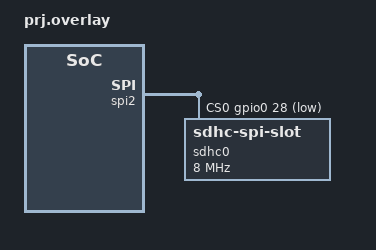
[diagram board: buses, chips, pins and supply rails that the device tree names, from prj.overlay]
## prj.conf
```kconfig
CONFIG_DISK_ACCESS=y
CONFIG_LOG=y
CONFIG_FILE_SYSTEM=y
CONFIG_FAT_FILESYSTEM_ELM=y
CONFIG_PRINTK=y
CONFIG_MAIN_STACK_SIZE=2048

# SD
CONFIG_MMC_STACK=y
CONFIG_SD_LOG_LEVEL_DEFAULT=y

CONFIG_SPI_NRFX_RAM_BUFFER_SIZE=8
CONFIG_SDHC=y
CONFIG_SDHC_LOG_LEVEL_DEFAULT=y
CONFIG_NRFX_SPI2=y
```

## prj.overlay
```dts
/* Overlay for SPI and SD card configuration with custom pin mappings */
&spi2 {
    status = "okay";
    compatible = "nordic,nrf-spi";
    
    pinctrl-0 = <&spi2_default>;
    pinctrl-1 = <&spi2_sleep>;
    pinctrl-names = "default", "sleep";

    cs-gpios = <&gpio0 28 GPIO_ACTIVE_LOW>; /* P0.28 as Chip Select (CS) */

    sdhc0: sdhc@0 {
        compatible = "zephyr,sdhc-spi-slot";
        reg = <0>;
        status = "okay";
        mmc {
            compatible = "zephyr,sdmmc-disk";
            status = "okay";
        };
        spi-max-frequency = <8000000>;
    };
};

&spi2_default {
    group1 {
        psels = <NRF_PSEL(SPIM_SCK, 0, 30)>,  /* P0.30 -> CLK (SCK) */
                <NRF_PSEL(SPIM_MOSI, 0, 29)>, /* P0.29 -> MOSI */
                <NRF_PSEL(SPIM_MISO, 0, 31)>; /* P0.31 -> MISO */
    };
};

&spi2_sleep {
    group1 { 
        psels = <NRF_PSEL(SPIM_SCK, 0xFFFFFFFF, 0xFFFFFFFF)>,  /* Disconnected */
                <NRF_PSEL(SPIM_MOSI,0xFFFFFFFF, 0xFFFFFFFF)>, /* Disconnected */
                <NRF_PSEL(SPIM_MISO,0xFFFFFFFF, 0xFFFFFFFF)>; /* Disconnected */
    };
};
```

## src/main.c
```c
/*
 * Copyright (c) 2019 Tavish Naruka <tavishnaruka@gmail.com>
 * Copyright (c) 2023 Nordic Semiconductor ASA
 * Copyright (c) 2023 Antmicro <www.antmicro.com>
 *
 * SPDX-License-Identifier: Apache-2.0
 */

/* Sample which uses the filesystem API and SDHC driver */

#include <zephyr/kernel.h>
#include <zephyr/device.h>
#include <zephyr/storage/disk_access.h>
#include <zephyr/logging/log.h>
#include <zephyr/fs/fs.h>

#if defined(CONFIG_FAT_FILESYSTEM_ELM)

#include <ff.h>

/*
 *  Note the fatfs library is able to mount only strings inside _VOLUME_STRS
 *  in ffconf.h
 */
#define DISK_DRIVE_NAME "SD"
#define DISK_MOUNT_PT "/"DISK_DRIVE_NAME":"

static FATFS fat_fs;
/* mounting info */
static struct fs_mount_t mp = {
	.type = FS_FATFS,
	.fs_data = &fat_fs,
};

#elif defined(CONFIG_FILE_SYSTEM_EXT2)

#include <zephyr/fs/ext2.h>

#define DISK_DRIVE_NAME "SDMMC"
#define DISK_MOUNT_PT "/ext"

static struct fs_mount_t mp = {
	.type = FS_EXT2,
	.flags = FS_MOUNT_FLAG_NO_FORMAT,
	.storage_dev = (void *)DISK_DRIVE_NAME,
	.mnt_point = "/ext",
};

#endif

LOG_MODULE_REGISTER(main);

#define MAX_PATH 128
#define SOME_FILE_NAME "some.dat"
#define SOME_DIR_NAME "some"
#define SOME_REQUIRED_LEN MAX(sizeof(SOME_FILE_NAME), sizeof(SOME_DIR_NAME))

static int lsdir(const char *path);
#ifdef CONFIG_FS_SAMPLE_CREATE_SOME_ENTRIES
static bool create_some_entries(const char *base_path)
{
	char path[MAX_PATH];
	struct fs_file_t file;
	int base = strlen(base_path);

	fs_file_t_init(&file);

	if (base >= (sizeof(path) - SOME_REQUIRED_LEN)) {
		LOG_ERR("Not enough concatenation buffer to create file paths");
		return false;
	}

	LOG_INF("Creating some dir entries in %s", base_path);
	strncpy(path, base_path, sizeof(path));

	path[base++] = '/';
	path[base] = 0;
	strcat(&path[base], SOME_FILE_NAME);

	if (fs_open(&file, path, FS_O_CREATE) != 0) {
		LOG_ERR("Failed to create file %s", path);
		return false;
	}
	fs_close(&file);

	path[base] = 0;
	strcat(&path[base], SOME_DIR_NAME);

	if (fs_mkdir(path) != 0) {
		LOG_ERR("Failed to create dir %s", path);
		/* If code gets here, it has at least successes to create the
		 * file so allow function to return true.
		 */
	}
	return true;
}
#endif

static const char *disk_mount_pt = DISK_MOUNT_PT;

int main(void)
{
	/* raw disk i/o */
	do {
		static const char *disk_pdrv = DISK_DRIVE_NAME;
		uint64_t memory_size_mb;
		uint32_t block_count;
		uint32_t block_size;

		if (disk_access_init(disk_pdrv) != 0) {
			LOG_ERR("Storage init ERROR!");
			break;
		}

		if (disk_access_ioctl(disk_pdrv,
				DISK_IOCTL_GET_SECTOR_COUNT, &block_count)) {
			LOG_ERR("Unable to get sector count");
			break;
		}
		LOG_INF("Block count %u", block_count);

		if (disk_access_ioctl(disk_pdrv,
				DISK_IOCTL_GET_SECTOR_SIZE, &block_size)) {
			LOG_ERR("Unable to get sector size");
			break;
		}
		printk("Sector size %u\n", block_size);

		memory_size_mb = (uint64_t)block_count * block_size;
		printk("Memory Size(MB) %u\n", (uint32_t)(memory_size_mb >> 20));
	} while (0);

	mp.mnt_point = disk_mount_pt;

	int res = fs_mount(&mp);

#if defined(CONFIG_FAT_FILESYSTEM_ELM)
	if (res == FR_OK) {
#else
	if (res == 0) {
#endif
		printk("Disk mounted.\n");
		if (lsdir(disk_mount_pt) < 5) {
#ifdef CONFIG_FS_SAMPLE_CREATE_SOME_ENTRIES
			if (create_some_entries(disk_mount_pt)) {
				lsdir(disk_mount_pt);
			}
#endif
		}
	} else {
		printk("Error mounting disk.\n");
	}

	fs_unmount(&mp);

	while (1) {
		k_sleep(K_MSEC(1000));
	}
	return 0;
}

/* List dir entry by path
 *
 * @param path Absolute path to list
 *
 * @return Negative errno code on error, number of listed entries on
 *         success.
 */
static int lsdir(const char *path)
{
	int res;
	struct fs_dir_t dirp;
	static struct fs_dirent entry;
	int count = 0;

	fs_dir_t_init(&dirp);

	/* Verify fs_opendir() */
	res = fs_opendir(&dirp, path);
	if (res) {
		printk("Error opening dir %s [%d]\n", path, res);
		return res;
	}

	printk("\nListing dir %s ...\n", path);
	for (;;) {
		/* Verify fs_readdir() */
		res = fs_readdir(&dirp, &entry);

		/* entry.name[0] == 0 means end-of-dir */
		if (res || entry.name[0] == 0) {
			break;
		}

		if (entry.type == FS_DIR_ENTRY_DIR) {
			printk("[DIR ] %s\n", entry.name);
		} else {
			printk("[FILE] %s (size = %zu)\n",
				entry.name, entry.size);
		}
		count++;
	}

	/* Verify fs_closedir() */
	fs_closedir(&dirp);
	if (res == 0) {
		res = count;
	}

	return res;
}
```
